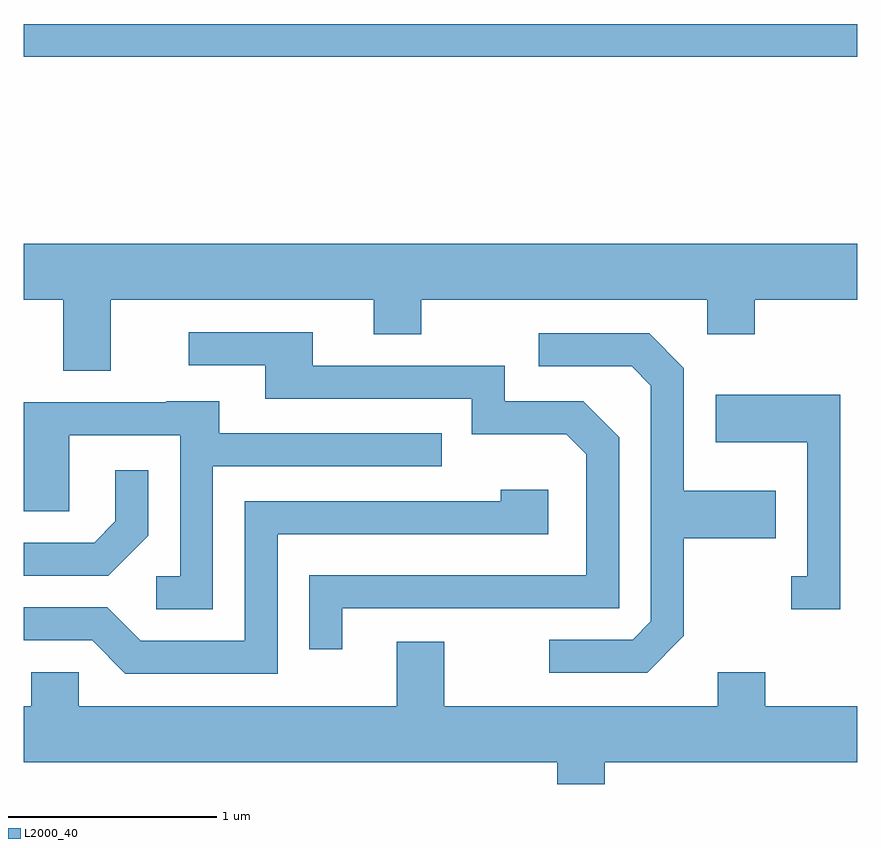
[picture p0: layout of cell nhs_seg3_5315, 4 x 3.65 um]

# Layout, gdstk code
import gdstk
lib = gdstk.Library(unit=1e-6, precision=1e-09)
def R(c, l, rs):  # rectangles x0, y0, x1, y1
    for r in rs: c.add(gdstk.rectangle(r[:2], r[2:], *l))
def P(c, l, *ps):  # polygons
    for p in ps: c.add(gdstk.Polygon(p, *l))
L2000_40 = (2000, 40)

nhs_seg3_5315 = lib.new_cell('nhs_seg3_5315')
R(nhs_seg3_5315, L2000_40, [(341.611,1149.381,345.611,1149.539)])
P(nhs_seg3_5315, L2000_40, [(342.029,1148.216),(343.291,1148.216),(343.291,1148.051),(343.519,1148.051),(343.519,1148.216),(344.891,1148.216),(344.891,1148.051),(345.119,1148.051),(345.119,1148.216),(345.611,1148.216),(345.611,1148.484),(341.611,1148.484),(341.611,1148.216),(341.801,1148.216),(341.801,1147.876),(342.029,1147.876)],
  [(343.139,1146.736),(344.469,1146.736),(344.469,1147.557),(344.297,1147.729),(343.919,1147.729),(343.919,1147.899),(342.999,1147.899),(342.999,1148.059),(342.403,1148.059),(342.403,1147.901),(342.771,1147.901),(342.771,1147.741),(343.761,1147.741),(343.761,1147.571),(344.214,1147.571),(344.311,1147.474),(344.311,1146.894),(342.981,1146.894),(342.981,1146.538),(343.139,1146.538)],
  [(344.779,1146.604),(344.779,1147.071),(345.219,1147.071),(345.219,1147.299),(344.779,1147.299),(344.779,1147.887),(344.612,1148.054),(344.083,1148.054),(344.083,1147.896),(344.529,1147.896),(344.621,1147.804),(344.621,1146.672),(344.534,1146.584),(344.133,1146.584),(344.133,1146.426),(344.602,1146.426)],
  [(345.529,1147.759),(344.931,1147.759),(344.931,1147.531),(345.371,1147.531),(345.371,1146.889),(345.293,1146.889),(345.293,1146.731),(345.529,1146.731)],
  [(342.519,1147.416),(343.618,1147.416),(343.618,1147.574),(342.549,1147.574),(342.549,1147.729),(342.295,1147.729),(342.295,1147.724),(341.611,1147.724),(341.611,1147.201),(341.829,1147.201),(341.829,1147.566),(342.361,1147.566),(342.361,1146.889),(342.248,1146.889),(342.248,1146.731),(342.519,1146.731)],
  [(342.209,1147.084),(342.209,1147.398),(342.051,1147.398),(342.051,1147.152),(341.949,1147.049),(341.611,1147.049),(341.611,1146.891),(342.017,1146.891)],
  [(342.829,1147.091),(344.129,1147.091),(344.129,1147.304),(343.901,1147.304),(343.901,1147.249),(342.671,1147.249),(342.671,1146.579),(342.172,1146.579),(342.012,1146.739),(341.611,1146.739),(341.611,1146.581),(341.939,1146.581),(342.099,1146.421),(342.829,1146.421)],
  [(344.399,1145.996),(345.611,1145.996),(345.611,1146.264),(345.169,1146.264),(345.169,1146.429),(344.941,1146.429),(344.941,1146.264),(343.629,1146.264),(343.629,1146.574),(343.401,1146.574),(343.401,1146.264),(341.874,1146.264),(341.874,1146.429),(341.646,1146.429),(341.646,1146.264),(341.611,1146.264),(341.611,1145.996),(344.171,1145.996),(344.171,1145.892),(344.399,1145.892)])

lib.write_gds('nhs_seg3_5315.gds')
